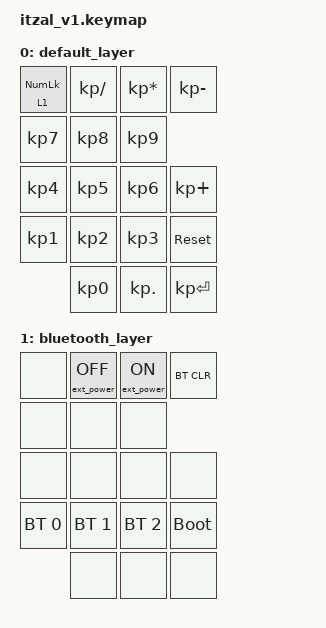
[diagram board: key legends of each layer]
#include <behaviors.dtsi>
#include <dt-bindings/zmk/keys.h>
#include <dt-bindings/zmk/bt.h>
#include <dt-bindings/zmk/outputs.h>
#include <dt-bindings/zmk/ext_power.h>

// ------------------default-----------------
// | LAYERSFT |    /    |    *    |    -    |
// |    7     |    8    |    9    |    +    |
// |    4     |    5    |    6    |         |
// |    1     |    2    |    3    |  ENTER  |
// |          |    0    |         |    .    |

// ----------------------------functions-------------------------------
// |  LAYERSFT  |  EXT_OFF  |  EXT_ON   |   BT_CLR             |
// |    NOP     |    NOP    |    NOP    |                      |
// |    NOP     |    NOP    |    NOP    |   NOP                |
// |Bluetooth 0 | Bluetooth 1|Bluetooth 2|   bootloader        |
// |            |    NOP    |           |   NOP                |

&soft_off {
    hold-time-ms= <5000>; //Only turn off if the key is held for 5 seconds or longer.
};

/ {
    keymap {
        compatible = "zmk,keymap";

        default_layer {
            bindings = <
    &lt 1 KP_NLCK   &kp KP_DIVIDE  &kp KP_MULTIPLY   &kp KP_MINUS
    &kp KP_N7     &kp KP_N8      &kp KP_N9
    &kp KP_N4     &kp KP_N5      &kp KP_N6         &kp KP_PLUS
    &kp KP_N1     &kp KP_N2      &kp KP_N3         &sys_reset
                  &kp KP_N0      &kp KP_DOT        &kp KP_ENTER
            >;
        };
        bluetooth_layer {
            bindings = <
    &none           &ext_power EP_OFF &ext_power EP_ON  &bt BT_CLR
    &none           &none             &none
    &none           &none             &none             &none
    &bt BT_SEL 0    &bt BT_SEL 1      &bt BT_SEL 2      &bootloader
                    &none             &none             &none
            >;
        };
    };
};
